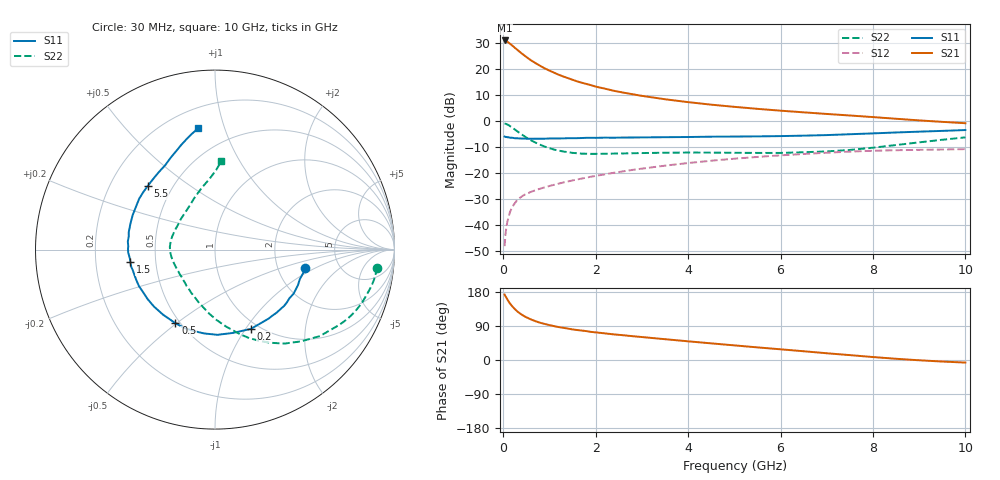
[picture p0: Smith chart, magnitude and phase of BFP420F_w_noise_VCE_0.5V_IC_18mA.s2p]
! Infineon Technologies  Discrete & RF Semiconductors
! BFP420F
! VCE =  0.5 V,  IC =  18 mA
! Common Emitter S-Parameters:  Sep 2011
# GHz  S  MA  R  50
!  f  S11  S21  S12  S22
! GHz  MAG  ANG  MAG  ANG  MAG  ANG  MAG  ANG
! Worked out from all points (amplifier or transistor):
!   54 points, 30 MHz to 10 GHz, reference 50 ohm
!   highest |S21| = 31.1 dB at 30 MHz (marker M1)
!   |S21| within 3 dB of that: start of sweep to 264.1 MHz
!   unconditionally stable (mu >= 1): 1.538 GHz to end of sweep
!   at 120 MHz: K = 0.28, MSG = 33.3 dB, |S12| = -36.4 dB
!   at 1.3 GHz: K = 0.93, MSG = 20.4 dB, |S12| = -23.5 dB
!   at 10 GHz: K = 1.22, MAG = 2.2 dB, |S12| = -10.7 dB
!   lowest NFmin = 1.47 dB at 900 MHz
!   S11 on the Smith chart (normalised r, x): 30 MHz: 2.86, -0.78; 200 MHz: 0.92, -1.06; 500 MHz: 0.47, -0.49; 1.5 GHz: 0.36, -0.06; 5.5 GHz: 0.36, +0.35; 10 GHz: 0.32, +0.82
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0.03  0.5123 -11.3  36.01 172.7  0.004 86.7  0.907 -6.4
0.05  0.5004 -19.3  35.3 167.9  0.007 85.4  0.9013 -10.9
0.07  0.5018 -26.2  34.95 164.0  0.0095 81.1  0.8854 -15.6
0.12  0.4927 -42.7  32.64 153.6  0.0151 74.7  0.8439 -25.6
0.15  0.487 -52.1  31 148.6  0.0185 71.6  0.8081 -31.4
0.2  0.4849 -65.6  28.55 141.1  0.023 67.4  0.7575 -39.5
0.25  0.475 -77.7  26.08 134.5  0.0267 63.9  0.7014 -46.8
0.3  0.475 -88.4  24.04 128.8  0.0306 60.9  0.6506 -53.6
0.35  0.471 -97.5  22.02 124.0  0.0334 58.8  0.6043 -59.2
0.4  0.4689 -105.4  20.25 119.7  0.036 57.1  0.5632 -64.4
0.5  0.4656 -118.3  17.32 112.7  0.0405 54.6  0.4911 -73.6
0.6  0.464 -128.6  14.97 107.1  0.0442 53.3  0.4339 -81.7
0.8  0.4659 -143.9  11.7 98.2  0.051 52.3  0.3561 -95.6
1.2  0.4707 -162.4  7.893 86.9  0.0637 52.5  0.2751 -118.6
1.5  0.4765 -171.7  6.325 80.7  0.0734 53.0  0.2485 -132.7
1.7  0.4797 -176.0  5.542 77.7  0.0798 53.0  0.2402 -141.1
2.4  0.486 171.3  3.871 67.5  0.1033 52.2  0.2409 -161.1
3.5  0.4975 157.0  2.669 54.9  0.1411 48.3  0.2501 -177.5
5.5  0.5157 136.8  1.745 33.3  0.2077 35.8  0.2481 155.4
7  0.5461 120.5  1.392 17.8  0.2502 24.9  0.2653 128.6
8.5  0.6133 107.8  1.125 3.2  0.2795 13.1  0.3519 102.1
10  0.6828 97.8  0.924 -6.8  0.2931 4.6  0.4937 86.0
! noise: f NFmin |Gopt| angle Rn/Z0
0.45  1.49  0.14  179  0.11
0.9  1.47  0.15  176  0.13
1.9  1.6  0.24  -172  0.18
2.4  1.67  0.25  -168  0.12
3.5  1.9  0.27  -159  0.16
